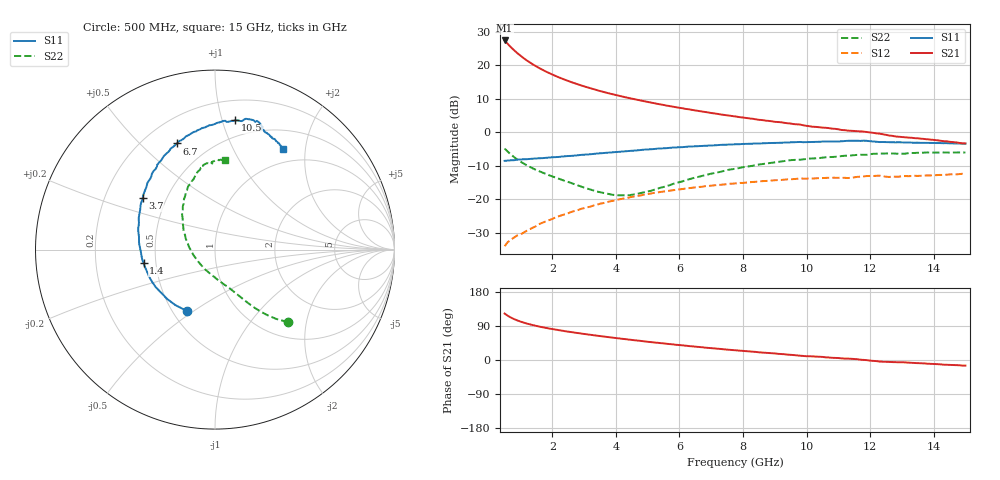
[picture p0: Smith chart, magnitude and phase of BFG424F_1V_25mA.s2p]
! Filename BFG424F_1V_25mA.prm
! Simulation_Values
! Created	by	janssen	on	nov	2006
!	Column ranking S11, S21,S12,S22 both magnitude and phase.
!	VCE	=	1	V,	IC	=	25	mA
!	Common	Emitter	S-Parameters
#	GHZ	S	MA	R	50
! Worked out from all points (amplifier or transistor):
!   146 points, 500 MHz to 15 GHz, reference 50 ohm
!   highest |S21| = 27.5 dB at 500 MHz (marker M1)
!   |S21| within 3 dB of that: start of sweep to 807 MHz
!   unconditionally stable (mu >= 1): 1.153 GHz to end of sweep
!   at 2.9 GHz: K = 1.21, MAG = 15.7 dB, |S12| = -22.9 dB
!   at 7.8 GHz: K = 1.18, MAG = 7.4 dB, |S12| = -15.2 dB
!   at 15 GHz: K = 1.58, MAG = 0.1 dB, |S12| = -12.5 dB
!   S11 on the Smith chart (normalised r, x): 500 MHz: 0.59, -0.47; 1.4 GHz: 0.43, -0.08; 3.7 GHz: 0.37, +0.28; 6.7 GHz: 0.33, +0.65; 10.5 GHz: 0.36, +1.10; 15 GHz: 0.77, +1.60
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0.5  0.376 -114.9  23.61 122.5  0.02 62.2  0.574 -44.8
0.6  0.38 -125.5  20.92 116.7  0.023 60.8  0.515 -48.6
0.7  0.383 -134.3  18.69 111.9  0.025 60.9  0.467 -51.4
0.8  0.385 -141.7  16.83 107.8  0.027 61.0  0.427 -53.7
0.9  0.391 -147.8  15.28 104.4  0.029 61.3  0.394 -55.7
1  0.394 -153.0  13.97 101.3  0.03 61.6  0.366 -57.2
1.1  0.397 -157.7  12.84 98.6  0.032 62.1  0.343 -58.7
1.2  0.398 -161.8  11.86 96.1  0.034 62.8  0.322 -60.1
1.4  0.405 -169.1  10.29 91.8  0.038 63.8  0.288 -62.7
1.7  0.413 -178.0  8.566 86.3  0.045 64.8  0.25 -66.7
2.1  0.427 172.4  6.973 80.2  0.054 65.5  0.212 -72.7
2.5  0.444 164.5  5.857 74.8  0.062 65.5  0.182 -80.4
3  0.464 155.6  4.872 68.7  0.074 64.6  0.15 -92.9
3.7  0.495 144.5  3.922 61.0  0.09 62.5  0.122 -118.1
4.5  0.532 133.9  3.192 53.0  0.109 59.6  0.117 -154.1
5.4  0.575 123.2  2.626 44.5  0.129 55.3  0.149 171.6
6.7  0.628 109.7  2.053 33.8  0.154 49.3  0.223 143.0
7.8  0.666 100.3  1.72 25.5  0.174 44.1  0.288 128.4
10.2  0.72 83.2  1.214 9.5  0.205 32.4  0.409 107.3
10.5  0.729 81.2  1.179 8.2  0.208 31.1  0.42 105.7
12.6  0.714 67.5  0.898 -5.2  0.216 23.0  0.487 93.1
15  0.678 55.9  0.685 -14.6  0.238 16.0  0.501 83.6
